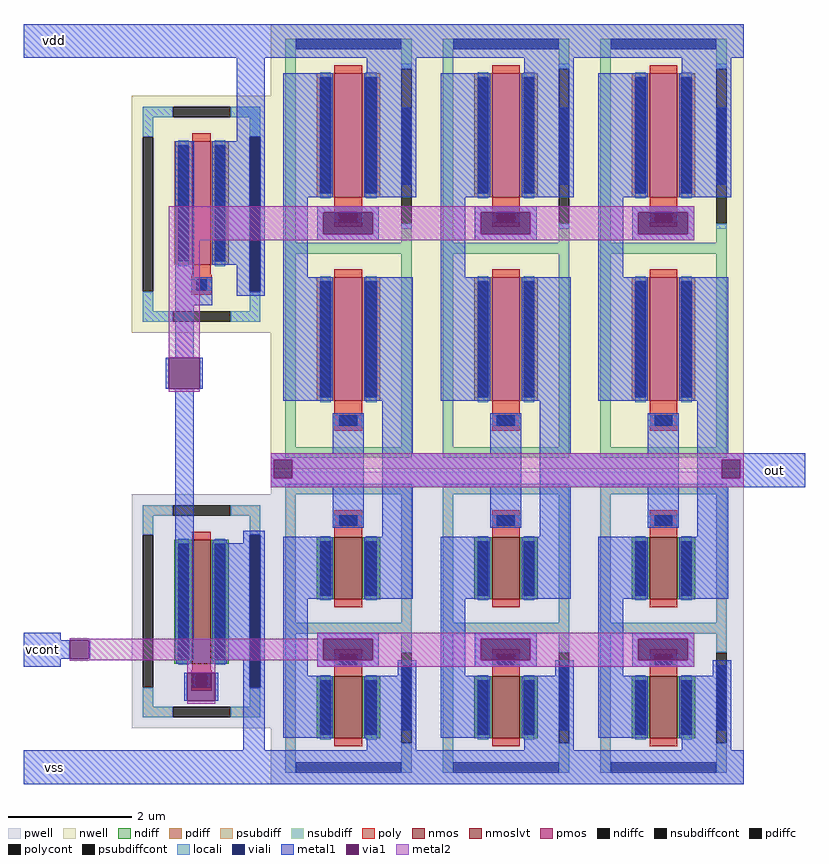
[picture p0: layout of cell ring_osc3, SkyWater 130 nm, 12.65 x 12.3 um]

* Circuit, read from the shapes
.subckt ring_osc3 vdd vss vcont out
XM1 vss vcont x1/vcont_p vss sky130_fd_pr__nfet_01v8_lvt w=2 l=0.3
XM2 vss vcont n1 vss sky130_fd_pr__nfet_01v8 w=1 l=0.45
XM3 x2/in out n1 vss sky130_fd_pr__nfet_01v8 w=1 l=0.45
XM4 vss vcont n2 vss sky130_fd_pr__nfet_01v8 w=1 l=0.45
XM5 x3/in x2/in n2 vss sky130_fd_pr__nfet_01v8 w=1 l=0.45
XM6 vss vcont n3 vss sky130_fd_pr__nfet_01v8 w=1 l=0.45
XM7 out x3/in n3 vss sky130_fd_pr__nfet_01v8 w=1 l=0.45
XM8 vdd x1/vcont_p x1/vcont_p vdd sky130_fd_pr__pfet_01v8 w=2 l=0.3
XM9 x2/in out n4 vdd sky130_fd_pr__pfet_01v8 w=2 l=0.45
XM10 vdd x1/vcont_p n4 vdd sky130_fd_pr__pfet_01v8 w=2 l=0.45
XM11 x3/in x2/in n5 vdd sky130_fd_pr__pfet_01v8 w=2 l=0.45
XM12 vdd x1/vcont_p n5 vdd sky130_fd_pr__pfet_01v8 w=2 l=0.45
XM13 out x3/in n6 vdd sky130_fd_pr__pfet_01v8 w=2 l=0.45
XM14 vdd x1/vcont_p n6 vdd sky130_fd_pr__pfet_01v8 w=2 l=0.45
.ends

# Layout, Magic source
magic
tech sky130A
magscale 1 2
<< viali >>
rect -68 393 -34 895
rect -68 -888 -34 -394
<< metal1 >>
rect -800 1150 1470 1260
rect -110 895 -20 1150
rect -110 880 -68 895
rect -310 440 -250 880
rect -190 480 -68 880
rect -310 350 -190 440
rect -110 393 -68 480
rect -34 393 -20 895
rect 160 580 170 650
rect 330 580 340 650
rect 670 580 680 650
rect 840 580 850 650
rect 1180 580 1190 650
rect 1350 580 1360 650
rect -110 380 -20 393
rect -310 180 -250 350
rect -340 80 -330 180
rect -230 80 -220 180
rect -800 -734 -680 -710
rect -800 -795 -651 -734
rect -590 -795 -584 -734
rect -800 -820 -680 -795
rect -310 -800 -250 80
rect 1530 -150 1730 -130
rect 0 -210 10 -150
rect 70 -210 80 -150
rect 1450 -210 1460 -150
rect 1520 -210 1730 -150
rect 1530 -240 1730 -210
rect -90 -394 -20 -380
rect -90 -420 -68 -394
rect -190 -800 -68 -420
rect -280 -930 -270 -840
rect -180 -930 -170 -840
rect -90 -888 -68 -800
rect -34 -888 -20 -394
rect 160 -800 170 -730
rect 330 -800 340 -730
rect 670 -800 680 -730
rect 840 -800 850 -730
rect 1180 -800 1190 -730
rect 1350 -800 1360 -730
rect -90 -1090 -20 -888
rect -800 -1200 1420 -1090
<< via1 >>
rect 170 580 330 650
rect 680 580 840 650
rect 1190 580 1350 650
rect -330 80 -230 180
rect -651 -795 -590 -734
rect 10 -210 70 -150
rect 1460 -210 1520 -150
rect -270 -930 -180 -840
rect 170 -800 330 -730
rect 680 -800 840 -730
rect 1190 -800 1350 -730
<< metal2 >>
rect -330 650 1370 670
rect -330 580 170 650
rect 330 580 680 650
rect 840 580 1190 650
rect 1350 580 1370 650
rect -330 560 1370 580
rect -330 180 -230 560
rect -330 70 -230 80
rect 0 -150 1530 -130
rect 0 -210 10 -150
rect 70 -210 1460 -150
rect 1520 -210 1530 -150
rect 0 -240 1530 -210
rect -651 -730 -590 -728
rect 150 -730 1370 -710
rect -651 -734 170 -730
rect -590 -795 170 -734
rect -651 -800 170 -795
rect 330 -800 680 -730
rect 840 -800 1190 -730
rect 1350 -800 1370 -730
rect -651 -801 -590 -800
rect -270 -840 -180 -800
rect 150 -820 1370 -800
rect -270 -940 -180 -930
use delay_stage  x1 ~/Development/spo/vlsi/tt07-spo-pll/mag
transform 1 0 -1110 0 1 1470
box 1110 -2670 1620 -210
use delay_stage  x2
transform 1 0 -600 0 1 1470
box 1110 -2670 1620 -210
use delay_stage  x3
transform 1 0 -90 0 1 1470
box 1110 -2670 1620 -210
use sky130_fd_pr__pfet_01v8_PLD8WZ  XM5
transform 1 0 -224 0 1 644
box -226 -384 226 384
use sky130_fd_pr__nfet_01v8_lvt_TKZJHP  XM6
transform 1 0 -224 0 1 -641
box -226 -379 226 379
<< labels >>
flabel metal1 1530 -240 1730 -130 0 FreeSans 256 0 0 0 out
port 3 nsew
flabel metal1 -800 -820 -680 -710 0 FreeSans 256 0 0 0 vcont
port 2 nsew
flabel metal1 -800 -1200 -600 -1090 0 FreeSans 256 0 0 0 vss
port 1 nsew
flabel metal1 -800 1150 -600 1260 0 FreeSans 256 0 0 0 vdd
port 0 nsew
<< end >>

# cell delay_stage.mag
magic
tech sky130A
magscale 1 2
<< nwell >>
rect 1110 -1650 1620 -210
<< pwell >>
rect 1110 -2670 1620 -1660
<< metal1 >>
rect 1110 -320 1620 -210
rect 1150 -770 1300 -370
rect 1420 -770 1580 -320
rect 1150 -1030 1230 -770
rect 1260 -910 1460 -800
rect 1150 -1430 1300 -1030
rect 1420 -1430 1570 -1030
rect 1310 -1600 1410 -1470
rect 1110 -1710 1410 -1600
rect 1310 -1840 1410 -1710
rect 1470 -1600 1570 -1430
rect 1470 -1710 1620 -1600
rect 1470 -1870 1570 -1710
rect 1150 -2070 1300 -1870
rect 1420 -2070 1570 -1870
rect 1150 -2320 1230 -2070
rect 1260 -2290 1460 -2180
rect 1520 -2320 1580 -2270
rect 1150 -2520 1300 -2320
rect 1420 -2560 1580 -2320
rect 1110 -2670 1620 -2560
use sky130_fd_pr__nfet_01v8_46DABQ  sky130_fd_pr__nfet_01v8_46DABQ_0
transform 1 0 1361 0 1 -1941
box -241 -279 241 279
use sky130_fd_pr__nfet_01v8_TTGNW2  sky130_fd_pr__nfet_01v8_TTGNW2_0
transform 1 0 1361 0 1 -2391
box -241 -279 241 279
use sky130_fd_pr__pfet_01v8_5YCKZA  sky130_fd_pr__pfet_01v8_5YCKZA_0
transform 1 0 1361 0 1 -1266
box -241 -384 241 384
use sky130_fd_pr__pfet_01v8_38U2ME  sky130_fd_pr__pfet_01v8_38U2ME_0
transform 1 0 1361 0 1 -606
box -241 -384 241 384
<< labels >>
flabel metal1 1260 -2290 1460 -2180 0 FreeSans 256 0 0 0 vcont_n
port 4 nsew
flabel metal1 1260 -910 1460 -800 0 FreeSans 256 0 0 0 vcont_p
port 1 nsew
flabel metal1 1260 -2670 1460 -2560 0 FreeSans 256 0 0 0 vss
port 5 nsew
flabel metal1 1260 -320 1460 -210 0 FreeSans 256 0 0 0 vdd
port 0 nsew
flabel metal1 1110 -1710 1310 -1600 0 FreeSans 256 0 0 0 in
port 3 nsew
flabel metal1 1470 -1710 1620 -1600 0 FreeSans 256 0 0 0 out
port 2 nsew
<< end >>

# cell sky130_fd_pr__pfet_01v8_PLD8WZ: kit device sky130_fd_pr__pfet_01v8, w 2.0 l 0.3 m 1 nf 1 diffcov 100 polycov 100 guard 1 glc 1 grc 1 gtc 1 gbc 1 tbcov 100 rlcov 100 topc 0 botc 1 poverlap 0 doverlap 1 lmin 0.15 wmin 0.42 compatible {sky130_fd_pr__pfet_01v8 sky130_fd_pr__pfet_01v8_lvt sky130_fd_pr__pfet_01v8_hvt sky130_fd_pr__pfet_g5v0d10v5} full_metal 1 viasrc 100 viadrn 100 viagate 100 viagb 0 viagr 0 viagl 0 viagt 0

# cell sky130_fd_pr__nfet_01v8_lvt_TKZJHP: kit device sky130_fd_pr__nfet_01v8_lvt, w 2 l 0.3 m 1 nf 1 diffcov 100 polycov 100 guard 1 glc 1 grc 1 gtc 1 gbc 1 tbcov 100 rlcov 100 topc 0 botc 1 poverlap 0 doverlap 1 lmin 0.15 wmin 0.42 compatible {sky130_fd_pr__nfet_01v8 sky130_fd_pr__nfet_01v8_lvt sky130_fd_bs_flash__special_sonosfet_star sky130_fd_pr__nfet_g5v0d10v5 sky130_fd_pr__nfet_05v0_nvt sky130_fd_pr__nfet_03v3_nvt} full_metal 1 viasrc 100 viadrn 100 viagate 100 viagb 0 viagr 0 viagl 0 viagt 0

# cell sky130_fd_pr__nfet_01v8_46DABQ: kit device sky130_fd_pr__nfet_01v8, w 1.0 l 0.45 m 1 nf 1 diffcov 100 polycov 100 guard 1 glc 0 grc 0 gtc 0 gbc 0 tbcov 100 rlcov 100 topc 1 botc 0 poverlap 0 doverlap 1 lmin 0.15 wmin 0.42 compatible {sky130_fd_pr__nfet_01v8 sky130_fd_pr__nfet_01v8_lvt sky130_fd_bs_flash__special_sonosfet_star sky130_fd_pr__nfet_g5v0d10v5 sky130_fd_pr__nfet_05v0_nvt sky130_fd_pr__nfet_03v3_nvt} full_metal 1 viasrc 100 viadrn 100 viagate 100 viagb 0 viagr 0 viagl 0 viagt 0

# cell sky130_fd_pr__nfet_01v8_TTGNW2: kit device sky130_fd_pr__nfet_01v8, w 1.0 l 0.45 m 1 nf 1 diffcov 100 polycov 100 guard 1 glc 0 grc 1 gtc 0 gbc 0 tbcov 100 rlcov 100 topc 1 botc 0 poverlap 0 doverlap 1 lmin 0.15 wmin 0.42 compatible {sky130_fd_pr__nfet_01v8 sky130_fd_pr__nfet_01v8_lvt sky130_fd_bs_flash__special_sonosfet_star sky130_fd_pr__nfet_g5v0d10v5 sky130_fd_pr__nfet_05v0_nvt sky130_fd_pr__nfet_03v3_nvt} full_metal 1 viasrc 100 viadrn 100 viagate 100 viagb 100 viagr 50 viagl 0 viagt 0

# cell sky130_fd_pr__pfet_01v8_5YCKZA: kit device sky130_fd_pr__pfet_01v8, w 2 l 0.45 m 1 nf 1 diffcov 100 polycov 100 guard 1 glc 0 grc 0 gtc 0 gbc 0 tbcov 100 rlcov 100 topc 0 botc 1 poverlap 0 doverlap 1 lmin 0.15 wmin 0.42 compatible {sky130_fd_pr__pfet_01v8 sky130_fd_pr__pfet_01v8_lvt sky130_fd_pr__pfet_01v8_hvt sky130_fd_pr__pfet_g5v0d10v5} full_metal 0 viasrc 100 viadrn 100 viagate 100 viagb 0 viagr 0 viagl 0 viagt 0

# cell sky130_fd_pr__pfet_01v8_38U2ME: kit device sky130_fd_pr__pfet_01v8, w 2 l 0.45 m 1 nf 1 diffcov 100 polycov 100 guard 1 glc 0 grc 1 gtc 0 gbc 0 tbcov 100 rlcov 100 topc 0 botc 1 poverlap 0 doverlap 1 lmin 0.15 wmin 0.42 compatible {sky130_fd_pr__pfet_01v8 sky130_fd_pr__pfet_01v8_lvt sky130_fd_pr__pfet_01v8_hvt sky130_fd_pr__pfet_g5v0d10v5} full_metal 0 viasrc 100 viadrn 100 viagate 100 viagb 0 viagr 40 viagl 0 viagt 100
